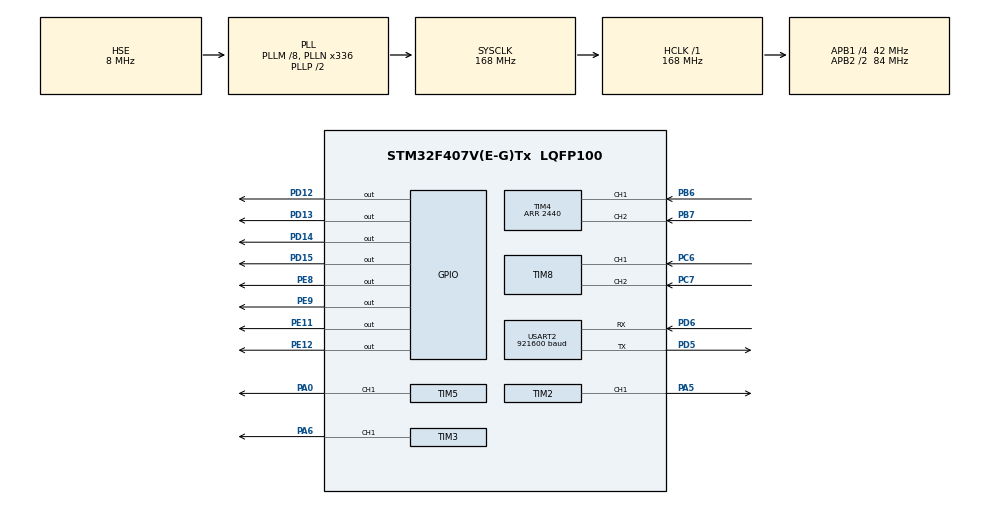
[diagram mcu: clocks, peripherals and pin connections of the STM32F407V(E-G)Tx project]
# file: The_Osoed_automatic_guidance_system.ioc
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Mcu.Family=STM32F4
Mcu.Name=STM32F407V(E-G)Tx
Mcu.Package=LQFP100
NVIC.PriorityGroup=NVIC_PRIORITYGROUP_4
NVIC.TIM5_IRQn=true\:0\:0\:false\:false\:true\:true\:true\:true
NVIC.USART2_IRQn=true\:0\:0\:false\:false\:true\:true\:true\:true
PA0-WKUP.GPIO_Speed=GPIO_SPEED_FREQ_VERY_HIGH
PA0-WKUP.Signal=S_TIM5_CH1
PA5.Signal=S_TIM2_CH1_ETR
PA6.Signal=S_TIM3_CH1
PB6.GPIO_PuPd=GPIO_PULLUP
PB6.GPIO_Speed=GPIO_SPEED_FREQ_VERY_HIGH
PB6.Signal=S_TIM4_CH1
PB7.GPIO_PuPd=GPIO_PULLUP
PB7.GPIO_Speed=GPIO_SPEED_FREQ_VERY_HIGH
PB7.Signal=S_TIM4_CH2
PC6.GPIO_PuPd=GPIO_PULLUP
PC6.GPIO_Speed=GPIO_SPEED_FREQ_VERY_HIGH
PC6.Signal=S_TIM8_CH1
PC7.GPIO_PuPd=GPIO_PULLUP
PC7.GPIO_Speed=GPIO_SPEED_FREQ_VERY_HIGH
PC7.Signal=S_TIM8_CH2
PD12.GPIO_Speed=GPIO_SPEED_FREQ_VERY_HIGH
PD12.PinState=GPIO_PIN_RESET
PD12.Signal=GPIO_Output
PD13.GPIO_Speed=GPIO_SPEED_FREQ_VERY_HIGH
PD13.PinState=GPIO_PIN_RESET
PD13.Signal=GPIO_Output
PD14.GPIO_Speed=GPIO_SPEED_FREQ_VERY_HIGH
PD14.PinState=GPIO_PIN_RESET
PD14.Signal=GPIO_Output
PD15.GPIO_Speed=GPIO_SPEED_FREQ_VERY_HIGH
PD15.PinState=GPIO_PIN_RESET
PD15.Signal=GPIO_Output
PD5.Mode=Asynchronous
PD5.Signal=USART2_TX
PD6.Mode=Asynchronous
PD6.Signal=USART2_RX
PE11.GPIO_Speed=GPIO_SPEED_FREQ_VERY_HIGH
PE11.PinState=GPIO_PIN_SET
PE11.Signal=GPIO_Output
PE12.GPIO_Speed=GPIO_SPEED_FREQ_VERY_HIGH
PE12.PinState=GPIO_PIN_SET
PE12.Signal=GPIO_Output
PE8.GPIO_Speed=GPIO_SPEED_FREQ_VERY_HIGH
PE8.PinState=GPIO_PIN_SET
PE8.Signal=GPIO_Output
PE9.GPIO_Speed=GPIO_SPEED_FREQ_VERY_HIGH
PE9.PinState=GPIO_PIN_SET
PE9.Signal=GPIO_Output
PH0-OSC_IN.Mode=HSE-External-Oscillator
PH0-OSC_IN.Signal=RCC_OSC_IN
PH1-OSC_OUT.Mode=HSE-External-Oscillator
PH1-OSC_OUT.Signal=RCC_OSC_OUT
ProjectManager.HeapSize=0x200
ProjectManager.StackSize=0x400
ProjectManager.TargetToolchain=STM32CubeIDE
RCC.48MHZClocksFreq_Value=84000000
RCC.AHBFreq_Value=168000000
RCC.APB1CLKDivider=RCC_HCLK_DIV4
RCC.APB1Freq_Value=42000000
RCC.APB1TimFreq_Value=84000000
RCC.APB2CLKDivider=RCC_HCLK_DIV2
RCC.APB2Freq_Value=84000000
RCC.APB2TimFreq_Value=168000000
RCC.CortexFreq_Value=168000000
RCC.HCLKFreq_Value=168000000
RCC.HSE_VALUE=8000000
RCC.HSI_VALUE=16000000
RCC.LSE_VALUE=32768
RCC.PLLM=8
RCC.PLLN=336
RCC.PLLSourceVirtual=RCC_PLLSOURCE_HSE
RCC.SYSCLKFreq_VALUE=168000000
RCC.SYSCLKSource=RCC_SYSCLKSOURCE_PLLCLK
RCC.VCOOutputFreq_Value=336000000
SH.S_TIM2_CH1_ETR.0=TIM2_CH1,PWM Generation1 CH1
SH.S_TIM3_CH1.0=TIM3_CH1,PWM Generation1 CH1
SH.S_TIM4_CH1.0=TIM4_CH1,Encoder_Interface
SH.S_TIM4_CH2.0=TIM4_CH2,Encoder_Interface
SH.S_TIM5_CH1.0=TIM5_CH1,PWM Generation1 CH1
SH.S_TIM8_CH1.0=TIM8_CH1,Encoder_Interface
SH.S_TIM8_CH2.0=TIM8_CH2,Encoder_Interface
TIM2.Channel-PWM\ Generation1\ CH1=TIM_CHANNEL_1
TIM3.Channel-PWM\ Generation1\ CH1=TIM_CHANNEL_1
TIM4.EncoderMode=TIM_ENCODERMODE_TI12
TIM4.IC1Filter=15
TIM4.IC2Filter=15
TIM4.Period=2440
TIM5.Channel-PWM\ Generation1\ CH1=TIM_CHANNEL_1
TIM5.Period=4294967295
TIM5.Prescaler=100
TIM5.Pulse-PWM\ Generation1\ CH1=2152533152
TIM8.EncoderMode=TIM_ENCODERMODE_TI12
TIM8.IC1Filter=15
USART2.BaudRate=921600
USART2.VirtualMode=VM_ASYNC
board=custom

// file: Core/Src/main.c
/* USER CODE BEGIN Header */
/**
  ******************************************************************************
  * @file           : main.c
  * @brief          : Main program body
  ******************************************************************************
  * @attention
  *
  * Copyright (c) 2025 STMicroelectronics.
  * All rights reserved.
  *
  * This software is licensed under terms that can be found in the LICENSE file
  * in the root directory of this software component.
  * If no LICENSE file comes with this software, it is provided AS-IS.
  *
  ******************************************************************************
  */
/* USER CODE END Header */
#include "main.h"

TIM_HandleTypeDef htim2;
TIM_HandleTypeDef htim3;
TIM_HandleTypeDef htim4;
TIM_HandleTypeDef htim5;
TIM_HandleTypeDef htim8;

UART_HandleTypeDef huart2;

/* USER CODE BEGIN PV */
unsigned char UART_ready = 1;
size_t Size_Rx_UART;
size_t Size_Tx_UART;
/* USER CODE END PV */

void SystemClock_Config(void);
static void MX_GPIO_Init(void);
static void MX_TIM2_Init(void);
static void MX_TIM3_Init(void);
static void MX_TIM4_Init(void);
static void MX_USART2_UART_Init(void);
static void MX_TIM8_Init(void);
static void MX_TIM5_Init(void);

/* USER CODE BEGIN 0 */
unsigned int Frequency_AZ;
unsigned int Frequency_EL;
float Angular_AZ;
float Angular_EL;
float Error_AZ;
float Error_EL;
/* USER CODE END 0 */

int main(void)
{

  /* USER CODE BEGIN 1 */
  Motor_AZ.Parameters.Timer.Number_timer = &htim3;
  Motor_AZ.Parameters.Timer.Channel = TIM_CHANNEL_1;
  Motor_EL.Parameters.Timer.Number_timer = &htim2;
  Motor_EL.Parameters.Timer.Channel = TIM_CHANNEL_1;

  Encoder_AZ.Timer_number = &htim8;
  Encoder_EL.Timer_number = &htim4;

  RP_message.UART_port = &huart2;
  Size_Rx_UART = sizeof(RP_message.Rx_data);
  Size_Tx_UART = sizeof(RP_message.Tx_data);
  /* USER CODE END 1 */

  /* MCU Configuration--------------------------------------------------------*/

  /* Reset of all peripherals, Initializes the Flash interface and the Systick. */
  HAL_Init();

  /* Configure the system clock */
  SystemClock_Config();

  /* Initialize all configured peripherals */
  MX_GPIO_Init();
  MX_TIM2_Init();
  MX_TIM3_Init();
  MX_TIM4_Init();
  MX_USART2_UART_Init();
  MX_TIM8_Init();
  MX_TIM5_Init();

  Encoder_Init(&Encoder_AZ);
  Encoder_Init(&Encoder_EL);

  Motor_AZ.Status.Tik[0] = htim5.Instance->CNT;
  Motor_EL.Status.Tik[0] = htim5.Instance->CNT;

//  HAL_UART_Receive_IT(RP_message.UART_port, (uint8_t*)RP_message.Rx_data, Size_Rx_UART);
  /* USER CODE END 2 */

  /* Infinite loop */
  /* USER CODE BEGIN WHILE */
  while (1)
  {
	Encoder_GetAngular(&Encoder_AZ);
    Encoder_GetAngular(&Encoder_EL);

	if (System_CheckLimit(&Systema_AZ) && System_CheckLimit(&Systema_EL)) {
	  switch (RP_message.Rx_data[15]) {
	    case '0':
	      Mode_Manual(&Motor_AZ);
	      Mode_Manual(&Motor_EL);
		  break;
	    case '1':
	      Mode_Semi_automatic(&Motor_AZ);
	      Mode_Semi_automatic(&Motor_EL);
	      break;
	    case '2':
	      Mode_Automatic(&Motor_AZ);
	      Mode_Automatic(&Motor_EL);
	      break;
	  };
	} else {
	  Motor_Stop(&Motor_AZ);
	  Motor_Stop(&Motor_EL);

	  Mode_Moving_away_from_borders(&Motor_AZ);
	  Mode_Moving_away_from_borders(&Motor_EL);
	};
    /* USER CODE END WHILE */

    /* USER CODE BEGIN 3 */
	Frequency_AZ = Motor_AZ.Status.Frequency;
	Frequency_EL = Motor_EL.Status.Frequency;
	Angular_AZ = Systema_AZ.Actual_angular;
	Angular_EL = Systema_EL.Actual_angular;
	Error_AZ = abs(RP_message.Azimuth - Systema_AZ.Actual_angular);
	Error_EL = abs(RP_message.Elevation - Systema_EL.Actual_angular);

	RP_message.Rx_data[0] = 'A';  RP_message.Rx_data[1] = 'z';
	RP_message.Rx_data[2] = '+'; RP_message.Rx_data[3] = '0'; RP_message.Rx_data[4] = '0'; RP_message.Rx_data[5] = '5'; /*,*/ RP_message.Rx_data[6] = '0';

	RP_message.Rx_data[7] = 'E';  RP_message.Rx_data[8] = 'l';
	RP_message.Rx_data[9] = '-'; RP_message.Rx_data[10] = '0'; RP_message.Rx_data[11] = '0'; RP_message.Rx_data[12] = '5'; /*,*/ RP_message.Rx_data[13] = '0';

	RP_message.Rx_data[14] = 'M';
	RP_message.Rx_data[15] = '0';

	RP_message.Rx_data[16] = 'F';
	RP_message.Rx_data[17] = '0';

	RP_message.Rx_data[18] = '\r'; RP_message.Rx_data[19] = '\n'; RP_message.Rx_data[20] = '\0';
	Raspberry_DatPpars(RP_message.Rx_data);
  }
  /* USER CODE END 3 */
}

void SystemClock_Config(void)
{
  RCC_OscInitTypeDef RCC_OscInitStruct = {0};
  RCC_ClkInitTypeDef RCC_ClkInitStruct = {0};

  /** Configure the main internal regulator output voltage
  */
  __HAL_RCC_PWR_CLK_ENABLE();
  __HAL_PWR_VOLTAGESCALING_CONFIG(PWR_REGULATOR_VOLTAGE_SCALE1);

  /** Initializes the RCC Oscillators according to the specified parameters
  * in the RCC_OscInitTypeDef structure.
  */
  RCC_OscInitStruct.OscillatorType = RCC_OSCILLATORTYPE_HSE;
  RCC_OscInitStruct.HSEState = RCC_HSE_ON;
  RCC_OscInitStruct.PLL.PLLState = RCC_PLL_ON;
  RCC_OscInitStruct.PLL.PLLSource = RCC_PLLSOURCE_HSE;
  RCC_OscInitStruct.PLL.PLLM = 8;
  RCC_OscInitStruct.PLL.PLLN = 336;
  RCC_OscInitStruct.PLL.PLLP = RCC_PLLP_DIV2;
  RCC_OscInitStruct.PLL.PLLQ = 4;
  if (HAL_RCC_OscConfig(&RCC_OscInitStruct) != HAL_OK)
  {
    Error_Handler();
  }

  /** Initializes the CPU, AHB and APB buses clocks
  */
  RCC_ClkInitStruct.ClockType = RCC_CLOCKTYPE_HCLK|RCC_CLOCKTYPE_SYSCLK
                              |RCC_CLOCKTYPE_PCLK1|RCC_CLOCKTYPE_PCLK2;
  RCC_ClkInitStruct.SYSCLKSource = RCC_SYSCLKSOURCE_PLLCLK;
  RCC_ClkInitStruct.AHBCLKDivider = RCC_SYSCLK_DIV1;
  RCC_ClkInitStruct.APB1CLKDivider = RCC_HCLK_DIV4;
  RCC_ClkInitStruct.APB2CLKDivider = RCC_HCLK_DIV2;

  if (HAL_RCC_ClockConfig(&RCC_ClkInitStruct, FLASH_LATENCY_5) != HAL_OK)
  {
    Error_Handler();
  }
}

static void MX_TIM2_Init(void)
{

  TIM_MasterConfigTypeDef sMasterConfig = {0};
  TIM_OC_InitTypeDef sConfigOC = {0};

  htim2.Instance = TIM2;
  htim2.Init.Prescaler = 0;
  htim2.Init.CounterMode = TIM_COUNTERMODE_UP;
  htim2.Init.Period = 4294967295;
  htim2.Init.ClockDivision = TIM_CLOCKDIVISION_DIV1;
  htim2.Init.AutoReloadPreload = TIM_AUTORELOAD_PRELOAD_DISABLE;
  if (HAL_TIM_PWM_Init(&htim2) != HAL_OK)
  {
    Error_Handler();
  }
  sMasterConfig.MasterOutputTrigger = TIM_TRGO_RESET;
  sMasterConfig.MasterSlaveMode = TIM_MASTERSLAVEMODE_DISABLE;
  if (HAL_TIMEx_MasterConfigSynchronization(&htim2, &sMasterConfig) != HAL_OK)
  {
    Error_Handler();
  }
  sConfigOC.OCMode = TIM_OCMODE_PWM1;
  sConfigOC.Pulse = 0;
  sConfigOC.OCPolarity = TIM_OCPOLARITY_HIGH;
  sConfigOC.OCFastMode = TIM_OCFAST_DISABLE;
  if (HAL_TIM_PWM_ConfigChannel(&htim2, &sConfigOC, TIM_CHANNEL_1) != HAL_OK)
  {
    Error_Handler();
  }
  HAL_TIM_MspPostInit(&htim2);

}

static void MX_TIM3_Init(void)
{

  TIM_MasterConfigTypeDef sMasterConfig = {0};
  TIM_OC_InitTypeDef sConfigOC = {0};

  htim3.Instance = TIM3;
  htim3.Init.Prescaler = 0;
  htim3.Init.CounterMode = TIM_COUNTERMODE_UP;
  htim3.Init.Period = 65535;
  htim3.Init.ClockDivision = TIM_CLOCKDIVISION_DIV1;
  htim3.Init.AutoReloadPreload = TIM_AUTORELOAD_PRELOAD_DISABLE;
  if (HAL_TIM_PWM_Init(&htim3) != HAL_OK)
  {
    Error_Handler();
  }
  sMasterConfig.MasterOutputTrigger = TIM_TRGO_RESET;
  sMasterConfig.MasterSlaveMode = TIM_MASTERSLAVEMODE_DISABLE;
  if (HAL_TIMEx_MasterConfigSynchronization(&htim3, &sMasterConfig) != HAL_OK)
  {
    Error_Handler();
  }
  sConfigOC.OCMode = TIM_OCMODE_PWM1;
  sConfigOC.Pulse = 0;
  sConfigOC.OCPolarity = TIM_OCPOLARITY_HIGH;
  sConfigOC.OCFastMode = TIM_OCFAST_DISABLE;
  if (HAL_TIM_PWM_ConfigChannel(&htim3, &sConfigOC, TIM_CHANNEL_1) != HAL_OK)
  {
    Error_Handler();
  }
  HAL_TIM_MspPostInit(&htim3);

}

static void MX_TIM4_Init(void)
{

  TIM_Encoder_InitTypeDef sConfig = {0};
  TIM_MasterConfigTypeDef sMasterConfig = {0};

  htim4.Instance = TIM4;
  htim4.Init.Prescaler = 0;
  htim4.Init.CounterMode = TIM_COUNTERMODE_UP;
  htim4.Init.Period = 2440;
  htim4.Init.ClockDivision = TIM_CLOCKDIVISION_DIV1;
  htim4.Init.AutoReloadPreload = TIM_AUTORELOAD_PRELOAD_DISABLE;
  sConfig.EncoderMode = TIM_ENCODERMODE_TI12;
  sConfig.IC1Polarity = TIM_ICPOLARITY_RISING;
  sConfig.IC1Selection = TIM_ICSELECTION_DIRECTTI;
  sConfig.IC1Prescaler = TIM_ICPSC_DIV1;
  sConfig.IC1Filter = 15;
  sConfig.IC2Polarity = TIM_ICPOLARITY_RISING;
  sConfig.IC2Selection = TIM_ICSELECTION_DIRECTTI;
  sConfig.IC2Prescaler = TIM_ICPSC_DIV1;
  sConfig.IC2Filter = 15;
  if (HAL_TIM_Encoder_Init(&htim4, &sConfig) != HAL_OK)
  {
    Error_Handler();
  }
  sMasterConfig.MasterOutputTrigger = TIM_TRGO_RESET;
  sMasterConfig.MasterSlaveMode = TIM_MASTERSLAVEMODE_DISABLE;
  if (HAL_TIMEx_MasterConfigSynchronization(&htim4, &sMasterConfig) != HAL_OK)
  {
    Error_Handler();
  }
  /* USER CODE BEGIN TIM4_Init 2 */
  htim4.Init.Period = Encoder_EL.Pulses_per_revolution * 4 + Encoder_EL.Safe_start_value * 2;
  if (HAL_TIM_Encoder_Init(&htim4, &sConfig) != HAL_OK) {Error_Handler();}
  HAL_TIM_Encoder_Start(&htim4, TIM_CHANNEL_ALL);
  /* USER CODE END TIM4_Init 2 */

}

static void MX_TIM5_Init(void)
{

  TIM_MasterConfigTypeDef sMasterConfig = {0};
  TIM_OC_InitTypeDef sConfigOC = {0};

  htim5.Instance = TIM5;
  htim5.Init.Prescaler = 100;
  htim5.Init.CounterMode = TIM_COUNTERMODE_UP;
  htim5.Init.Period = 4294967295;
  htim5.Init.ClockDivision = TIM_CLOCKDIVISION_DIV1;
  htim5.Init.AutoReloadPreload = TIM_AUTORELOAD_PRELOAD_DISABLE;
  if (HAL_TIM_PWM_Init(&htim5) != HAL_OK)
  {
    Error_Handler();
  }
  sMasterConfig.MasterOutputTrigger = TIM_TRGO_RESET;
  sMasterConfig.MasterSlaveMode = TIM_MASTERSLAVEMODE_DISABLE;
  if (HAL_TIMEx_MasterConfigSynchronization(&htim5, &sMasterConfig) != HAL_OK)
  {
    Error_Handler();
  }
  sConfigOC.OCMode = TIM_OCMODE_PWM1;
  sConfigOC.Pulse = 2152533152;
  sConfigOC.OCPolarity = TIM_OCPOLARITY_HIGH;
  sConfigOC.OCFastMode = TIM_OCFAST_DISABLE;
  if (HAL_TIM_PWM_ConfigChannel(&htim5, &sConfigOC, TIM_CHANNEL_1) != HAL_OK)
  {
    Error_Handler();
  }
  /* USER CODE BEGIN TIM5_Init 2 */
  HAL_TIM_PWM_Start(&htim5, TIM_CHANNEL_1);
  /* USER CODE END TIM5_Init 2 */
  HAL_TIM_MspPostInit(&htim5);

}

static void MX_TIM8_Init(void)
{

  TIM_Encoder_InitTypeDef sConfig = {0};
  TIM_MasterConfigTypeDef sMasterConfig = {0};

  htim8.Instance = TIM8;
  htim8.Init.Prescaler = 0;
  htim8.Init.CounterMode = TIM_COUNTERMODE_UP;
  htim8.Init.Period = 65535;
  htim8.Init.ClockDivision = TIM_CLOCKDIVISION_DIV1;
  htim8.Init.RepetitionCounter = 0;
  htim8.Init.AutoReloadPreload = TIM_AUTORELOAD_PRELOAD_DISABLE;
  sConfig.EncoderMode = TIM_ENCODERMODE_TI12;
  sConfig.IC1Polarity = TIM_ICPOLARITY_RISING;
  sConfig.IC1Selection = TIM_ICSELECTION_DIRECTTI;
  sConfig.IC1Prescaler = TIM_ICPSC_DIV1;
  sConfig.IC1Filter = 15;
  sConfig.IC2Polarity = TIM_ICPOLARITY_RISING;
  sConfig.IC2Selection = TIM_ICSELECTION_DIRECTTI;
  sConfig.IC2Prescaler = TIM_ICPSC_DIV1;
  sConfig.IC2Filter = 0;
  if (HAL_TIM_Encoder_Init(&htim8, &sConfig) != HAL_OK)
  {
    Error_Handler();
  }
  sMasterConfig.MasterOutputTrigger = TIM_TRGO_RESET;
  sMasterConfig.MasterSlaveMode = TIM_MASTERSLAVEMODE_DISABLE;
  if (HAL_TIMEx_MasterConfigSynchronization(&htim8, &sMasterConfig) != HAL_OK)
  {
    Error_Handler();
  }
  /* USER CODE BEGIN TIM8_Init 2 */
  htim8.Init.Period = Encoder_AZ.Pulses_per_revolution * 4 + Encoder_AZ.Safe_start_value * 2;
  if (HAL_TIM_Encoder_Init(&htim8, &sConfig) != HAL_OK) {Error_Handler();}
  HAL_TIM_Encoder_Start(&htim8, TIM_CHANNEL_ALL);
  /* USER CODE END TIM8_Init 2 */

}

static void MX_USART2_UART_Init(void)
{

  huart2.Instance = USART2;
  huart2.Init.BaudRate = 921600;
  huart2.Init.WordLength = UART_WORDLENGTH_8B;
  huart2.Init.StopBits = UART_STOPBITS_1;
  huart2.Init.Parity = UART_PARITY_NONE;
  huart2.Init.Mode = UART_MODE_TX_RX;
  huart2.Init.HwFlowCtl = UART_HWCONTROL_NONE;
  huart2.Init.OverSampling = UART_OVERSAMPLING_16;
  if (HAL_UART_Init(&huart2) != HAL_OK)
  {
    Error_Handler();
  }

}

static void MX_GPIO_Init(void)
{
  GPIO_InitTypeDef GPIO_InitStruct = {0};

  /* GPIO Ports Clock Enable */
  __HAL_RCC_GPIOH_CLK_ENABLE();
  __HAL_RCC_GPIOA_CLK_ENABLE();
  __HAL_RCC_GPIOE_CLK_ENABLE();
  __HAL_RCC_GPIOD_CLK_ENABLE();
  __HAL_RCC_GPIOC_CLK_ENABLE();
  __HAL_RCC_GPIOB_CLK_ENABLE();

  /*Configure GPIO pin Output Level */
  HAL_GPIO_WritePin(GPIOE, GPIO_PIN_8|GPIO_PIN_9|GPIO_PIN_11|GPIO_PIN_12, GPIO_PIN_SET);

  /*Configure GPIO pin Output Level */
  HAL_GPIO_WritePin(GPIOD, GPIO_PIN_12|GPIO_PIN_13|GPIO_PIN_14|GPIO_PIN_15, GPIO_PIN_RESET);

  /*Configure GPIO pins : PE8 PE9 PE11 PE12 */
  GPIO_InitStruct.Pin = GPIO_PIN_8|GPIO_PIN_9|GPIO_PIN_11|GPIO_PIN_12;
  GPIO_InitStruct.Mode = GPIO_MODE_OUTPUT_PP;
  GPIO_InitStruct.Pull = GPIO_NOPULL;
  GPIO_InitStruct.Speed = GPIO_SPEED_FREQ_VERY_HIGH;
  HAL_GPIO_Init(GPIOE, &GPIO_InitStruct);

  /*Configure GPIO pins : PD12 PD13 PD14 PD15 */
  GPIO_InitStruct.Pin = GPIO_PIN_12|GPIO_PIN_13|GPIO_PIN_14|GPIO_PIN_15;
  GPIO_InitStruct.Mode = GPIO_MODE_OUTPUT_PP;
  GPIO_InitStruct.Pull = GPIO_NOPULL;
  GPIO_InitStruct.Speed = GPIO_SPEED_FREQ_VERY_HIGH;
  HAL_GPIO_Init(GPIOD, &GPIO_InitStruct);

}

/* USER CODE BEGIN 4 */
void HAL_UART_RxCpltCallback(UART_HandleTypeDef *huart)
{
	Raspberry_DatPpars(RP_message.Rx_data);
	HAL_UART_Receive_IT(RP_message.UART_port, (uint8_t*)RP_message.Rx_data, Size_Rx_UART);
};

void HAL_UART_TxCpltCallback(UART_HandleTypeDef *huart) {RP_message.transmitting = 0;}
/* USER CODE END 4 */

void Error_Handler(void)
{
  /* USER CODE BEGIN Error_Handler_Debug */
  /* User can add his own implementation to report the HAL error return state */
  HAL_GPIO_WritePin(GPIOD, GPIO_PIN_12, GPIO_PIN_RESET);
  HAL_GPIO_WritePin(GPIOD, GPIO_PIN_13, GPIO_PIN_RESET);
  HAL_GPIO_WritePin(GPIOD, GPIO_PIN_14, GPIO_PIN_RESET);
  HAL_GPIO_WritePin(GPIOD, GPIO_PIN_15, GPIO_PIN_RESET);
  __disable_irq();
  while (1)
  {
    HAL_GPIO_WritePin(GPIOD, GPIO_PIN_15, GPIO_PIN_SET);
    HAL_Delay(500);
    HAL_GPIO_WritePin(GPIOD, GPIO_PIN_15, GPIO_PIN_RESET);
    HAL_Delay(500);
  }
  /* USER CODE END Error_Handler_Debug */
}
